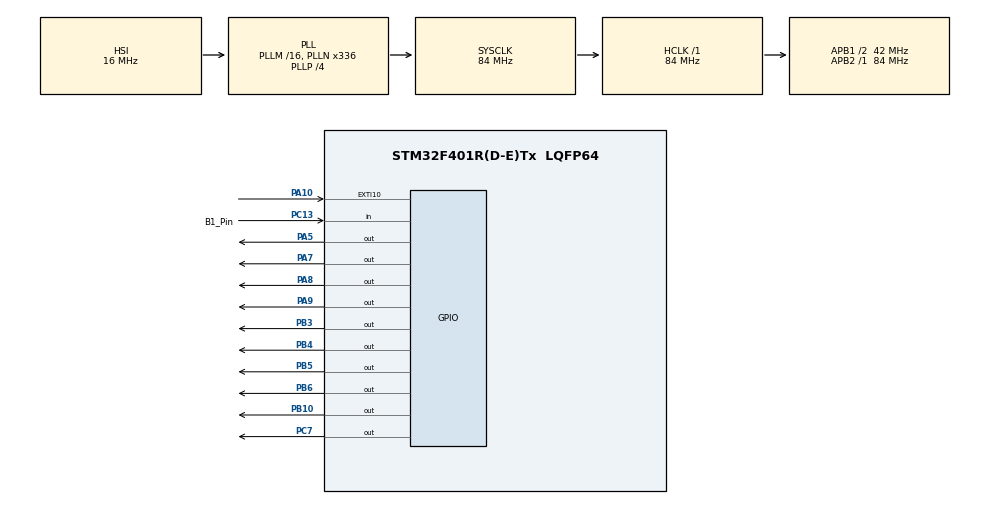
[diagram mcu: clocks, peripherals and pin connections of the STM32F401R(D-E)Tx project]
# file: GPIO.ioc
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Mcu.Family=STM32F4
Mcu.Name=STM32F401R(D-E)Tx
Mcu.Package=LQFP64
NVIC.PriorityGroup=NVIC_PRIORITYGROUP_4
PA10.Signal=GPXTI10
PA14.GPIO_Label=TCK
PA14.Signal=SYS_JTCK-SWCLK
PA2.GPIO_Label=USART_TX
PA2.GPIO_Mode=GPIO_MODE_AF_PP
PA2.GPIO_PuPd=GPIO_NOPULL
PA2.GPIO_Speed=GPIO_SPEED_LOW
PA2.Signal=USART2_TX
PA3.GPIO_Label=USART_RX
PA3.GPIO_Mode=GPIO_MODE_AF_PP
PA3.GPIO_PuPd=GPIO_NOPULL
PA3.GPIO_Speed=GPIO_SPEED_LOW
PA3.Signal=USART2_RX
PA5.Signal=GPIO_Output
PA7.Signal=GPIO_Output
PA8.Signal=GPIO_Output
PA9.Signal=GPIO_Output
PB10.Signal=GPIO_Output
PB3.Signal=GPIO_Output
PB4.Signal=GPIO_Output
PB5.Signal=GPIO_Output
PB6.Signal=GPIO_Output
PC13-ANTI_TAMP.GPIO_Label=B1_Pin
PC13-ANTI_TAMP.Signal=GPIO_Input
PC14-OSC32_IN.Signal=RCC_OSC32_IN
PC15-OSC32_OUT.Signal=RCC_OSC32_OUT
PC7.Signal=GPIO_Output
PH0\ -\ OSC_IN.Signal=RCC_OSC_IN
PH1\ -\ OSC_OUT.Signal=RCC_OSC_OUT
ProjectManager.TargetToolchain=MDK-ARM V5
RCC.AHBFreq_Value=84000000
RCC.APB1CLKDivider=RCC_HCLK_DIV2
RCC.APB1Freq_Value=42000000
RCC.APB1TimFreq_Value=84000000
RCC.APB2Freq_Value=84000000
RCC.APB2TimFreq_Value=84000000
RCC.CortexFreq_Value=84000000
RCC.HCLKFreq_Value=84000000
RCC.HSE_VALUE=8000000
RCC.HSI_VALUE=16000000
RCC.LSE_VALUE=32768
RCC.PLLN=336
RCC.PLLP=RCC_PLLP_DIV4
RCC.PLLQ=7
RCC.SYSCLKFreq_VALUE=84000000
RCC.SYSCLKSource=RCC_SYSCLKSOURCE_PLLCLK
RCC.VCOOutputFreq_Value=336000000
board=NUCLEO-F401RE

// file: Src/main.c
/**
  ******************************************************************************
  * File Name          : main.c
  * Description        : Main program body
  ******************************************************************************
  *
  * COPYRIGHT(c) 2015 STMicroelectronics
  *
  * Redistribution and use in source and binary forms, with or without modification,
  * are permitted provided that the following conditions are met:
  *   1. Redistributions of source code must retain the above copyright notice,
  *      this list of conditions and the following disclaimer.
  *   2. Redistributions in binary form must reproduce the above copyright notice,
  *      this list of conditions and the following disclaimer in the documentation
  *      and/or other materials provided with the distribution.
  *   3. Neither the name of STMicroelectronics nor the names of its contributors
  *      may be used to endorse or promote products derived from this software
  *      without specific prior written permission.
  *
  * THIS SOFTWARE IS PROVIDED BY THE COPYRIGHT HOLDERS AND CONTRIBUTORS "AS IS"
  * AND ANY EXPRESS OR IMPLIED WARRANTIES, INCLUDING, BUT NOT LIMITED TO, THE
  * IMPLIED WARRANTIES OF MERCHANTABILITY AND FITNESS FOR A PARTICULAR PURPOSE ARE
  * DISCLAIMED. IN NO EVENT SHALL THE COPYRIGHT HOLDER OR CONTRIBUTORS BE LIABLE
  * FOR ANY DIRECT, INDIRECT, INCIDENTAL, SPECIAL, EXEMPLARY, OR CONSEQUENTIAL
  * DAMAGES (INCLUDING, BUT NOT LIMITED TO, PROCUREMENT OF SUBSTITUTE GOODS OR
  * SERVICES; LOSS OF USE, DATA, OR PROFITS; OR BUSINESS INTERRUPTION) HOWEVER
  * CAUSED AND ON ANY THEORY OF LIABILITY, WHETHER IN CONTRACT, STRICT LIABILITY,
  * OR TORT (INCLUDING NEGLIGENCE OR OTHERWISE) ARISING IN ANY WAY OUT OF THE USE
  * OF THIS SOFTWARE, EVEN IF ADVISED OF THE POSSIBILITY OF SUCH DAMAGE.
  *
  ******************************************************************************
  */
#include "stm32f4xx_hal.h"

/* USER CODE BEGIN PV */
/* Private variables ---------------------------------------------------------*/

/* USER CODE END PV */

void SystemClock_Config(void);
static void MX_GPIO_Init(void);

/* USER CODE BEGIN PFP */
/* Private function prototypes -----------------------------------------------*/
void LightsOff(){
		HAL_GPIO_WritePin(GPIOA,GPIO_PIN_5|GPIO_PIN_7|GPIO_PIN_8|GPIO_PIN_9 |GPIO_PIN_10,GPIO_PIN_RESET);
		HAL_GPIO_WritePin(GPIOB,GPIO_PIN_10|GPIO_PIN_3|GPIO_PIN_4|GPIO_PIN_5 |GPIO_PIN_6,GPIO_PIN_RESET);
		HAL_GPIO_WritePin(GPIOC,GPIO_PIN_7,GPIO_PIN_RESET);
}
/* USER CODE END PFP */

/* USER CODE BEGIN 0 */
uint16_t LED_Pin_Order[10] = {
					GPIO_PIN_10,GPIO_PIN_3,GPIO_PIN_5,GPIO_PIN_4,GPIO_PIN_10,GPIO_PIN_8,GPIO_PIN_9,GPIO_PIN_7,GPIO_PIN_6,GPIO_PIN_7
};
GPIO_TypeDef * LED_Pin_Reg[10] = {
					GPIOA,GPIOB,GPIOB,GPIOB,GPIOB,GPIOA,GPIOA,GPIOC,GPIOB,GPIOA
};
uint8_t MAX_Lights = 10;
uint8_t LightCount = 0;
GPIO_PinState UserButtonState = GPIO_PIN_SET;
/* USER CODE END 0 */

int main(void)
{

  /* MCU Configuration----------------------------------------------------------*/

  /* Reset of all peripherals, Initializes the Flash interface and the Systick. */
  HAL_Init();

  /* Configure the system clock */
  SystemClock_Config();

  /* Initialize all configured peripherals */
  MX_GPIO_Init();

  /* Infinite loop */
  /* USER CODE BEGIN WHILE */
  while (1)
  {
		UserButtonState = HAL_GPIO_ReadPin(GPIOC,GPIO_PIN_13);
		if(UserButtonState == GPIO_PIN_RESET)
		{
			while(HAL_GPIO_ReadPin(GPIOC,GPIO_PIN_13)==GPIO_PIN_RESET);
			if(LightCount < MAX_Lights - 1)
			{
				LightCount++;
			}
			else
			{
				LightCount = 0;
			}
			LightsOff();
		}

		HAL_GPIO_WritePin(LED_Pin_Reg[LightCount],LED_Pin_Order[LightCount],GPIO_PIN_SET);
  /* USER CODE END WHILE */

  }

}

/** System Clock Configuration
*/
void SystemClock_Config(void)
{

  RCC_OscInitTypeDef RCC_OscInitStruct;
  RCC_ClkInitTypeDef RCC_ClkInitStruct;

  __PWR_CLK_ENABLE();

  __HAL_PWR_VOLTAGESCALING_CONFIG(PWR_REGULATOR_VOLTAGE_SCALE1);

  RCC_OscInitStruct.OscillatorType = RCC_OSCILLATORTYPE_HSI;
  RCC_OscInitStruct.HSIState = RCC_HSI_ON;
  RCC_OscInitStruct.HSICalibrationValue = 16;
  RCC_OscInitStruct.PLL.PLLState = RCC_PLL_ON;
  RCC_OscInitStruct.PLL.PLLSource = RCC_PLLSOURCE_HSI;
  RCC_OscInitStruct.PLL.PLLM = 16;
  RCC_OscInitStruct.PLL.PLLN = 336;
  RCC_OscInitStruct.PLL.PLLP = RCC_PLLP_DIV4;
  RCC_OscInitStruct.PLL.PLLQ = 7;
  HAL_RCC_OscConfig(&RCC_OscInitStruct);

  RCC_ClkInitStruct.ClockType = RCC_CLOCKTYPE_SYSCLK|RCC_CLOCKTYPE_PCLK1;
  RCC_ClkInitStruct.SYSCLKSource = RCC_SYSCLKSOURCE_PLLCLK;
  RCC_ClkInitStruct.AHBCLKDivider = RCC_SYSCLK_DIV1;
  RCC_ClkInitStruct.APB1CLKDivider = RCC_HCLK_DIV2;
  RCC_ClkInitStruct.APB2CLKDivider = RCC_HCLK_DIV1;
  HAL_RCC_ClockConfig(&RCC_ClkInitStruct, FLASH_LATENCY_2);

  HAL_SYSTICK_Config(HAL_RCC_GetHCLKFreq()/1000);

  HAL_SYSTICK_CLKSourceConfig(SYSTICK_CLKSOURCE_HCLK);

  /* SysTick_IRQn interrupt configuration */
  HAL_NVIC_SetPriority(SysTick_IRQn, 0, 0);
}

/** Configure pins as
        * Analog
        * Input
        * Output
        * EVENT_OUT
        * EXTI
     PA2   ------> USART2_TX
     PA3   ------> USART2_RX
*/
void MX_GPIO_Init(void)
{

  GPIO_InitTypeDef GPIO_InitStruct;

  /* GPIO Ports Clock Enable */
  __GPIOC_CLK_ENABLE();
  __GPIOH_CLK_ENABLE();
  __GPIOA_CLK_ENABLE();
  __GPIOB_CLK_ENABLE();

  /*Configure GPIO pin : B1_Pin_Pin */
  GPIO_InitStruct.Pin = B1_Pin_Pin;
  GPIO_InitStruct.Mode = GPIO_MODE_INPUT;
  GPIO_InitStruct.Pull = GPIO_NOPULL;
  HAL_GPIO_Init(B1_Pin_GPIO_Port, &GPIO_InitStruct);

  /*Configure GPIO pins : USART_TX_Pin USART_RX_Pin */
  GPIO_InitStruct.Pin = USART_TX_Pin|USART_RX_Pin;
  GPIO_InitStruct.Mode = GPIO_MODE_AF_PP;
  GPIO_InitStruct.Pull = GPIO_NOPULL;
  GPIO_InitStruct.Speed = GPIO_SPEED_LOW;
  GPIO_InitStruct.Alternate = GPIO_AF7_USART2;
  HAL_GPIO_Init(GPIOA, &GPIO_InitStruct);

  /*Configure GPIO pins : PA5 PA7 PA8 PA9 */
  GPIO_InitStruct.Pin = GPIO_PIN_5|GPIO_PIN_7|GPIO_PIN_8|GPIO_PIN_9;
  GPIO_InitStruct.Mode = GPIO_MODE_OUTPUT_PP;
  GPIO_InitStruct.Pull = GPIO_NOPULL;
  GPIO_InitStruct.Speed = GPIO_SPEED_LOW;
  HAL_GPIO_Init(GPIOA, &GPIO_InitStruct);

  /*Configure GPIO pins : PB10 PB3 PB4 PB5
                           PB6 */
  GPIO_InitStruct.Pin = GPIO_PIN_10|GPIO_PIN_3|GPIO_PIN_4|GPIO_PIN_5
                          |GPIO_PIN_6;
  GPIO_InitStruct.Mode = GPIO_MODE_OUTPUT_PP;
  GPIO_InitStruct.Pull = GPIO_NOPULL;
  GPIO_InitStruct.Speed = GPIO_SPEED_LOW;
  HAL_GPIO_Init(GPIOB, &GPIO_InitStruct);

  /*Configure GPIO pin : PC7 */
  GPIO_InitStruct.Pin = GPIO_PIN_7;
  GPIO_InitStruct.Mode = GPIO_MODE_OUTPUT_PP;
  GPIO_InitStruct.Pull = GPIO_NOPULL;
  GPIO_InitStruct.Speed = GPIO_SPEED_LOW;
  HAL_GPIO_Init(GPIOC, &GPIO_InitStruct);

  /*Configure GPIO pin : PA10 */
  GPIO_InitStruct.Pin = GPIO_PIN_10;
  GPIO_InitStruct.Mode = GPIO_MODE_OUTPUT_PP;
  GPIO_InitStruct.Pull = GPIO_NOPULL;
  HAL_GPIO_Init(GPIOA, &GPIO_InitStruct);

}

/************************ (C) COPYRIGHT STMicroelectronics *****END OF FILE****/
